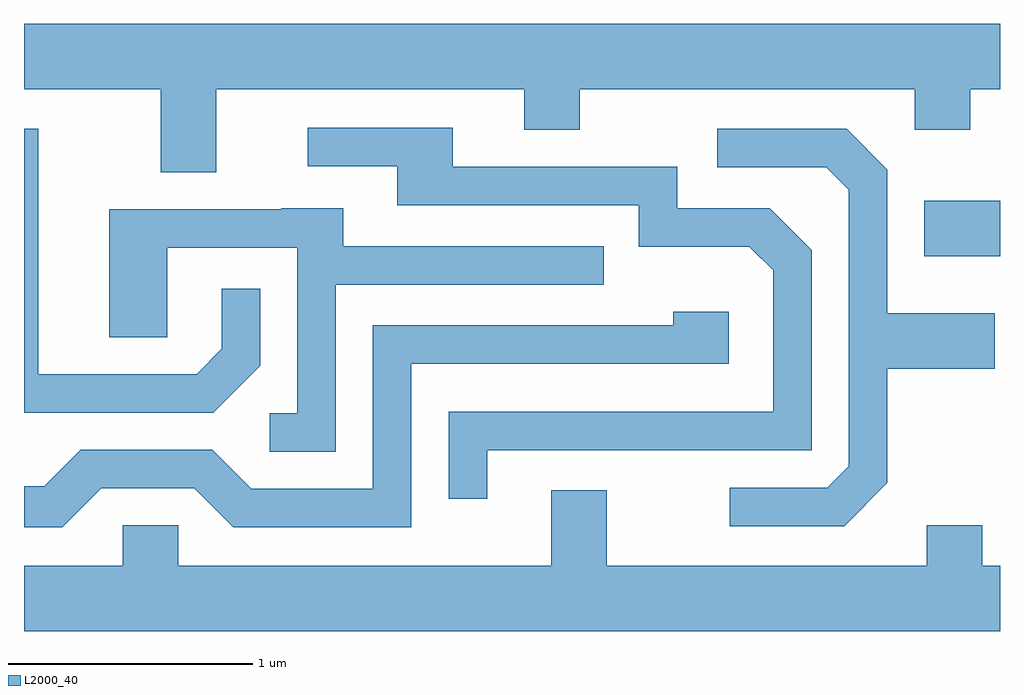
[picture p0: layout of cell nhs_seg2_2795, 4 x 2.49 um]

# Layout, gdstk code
import gdstk
lib = gdstk.Library(unit=1e-6, precision=1e-09)
def R(c, l, rs):  # rectangles x0, y0, x1, y1
    for r in rs: c.add(gdstk.rectangle(r[:2], r[2:], *l))
def P(c, l, *ps):  # polygons
    for p in ps: c.add(gdstk.Polygon(p, *l))
L2000_40 = (2000, 40)

nhs_seg2_2795 = lib.new_cell('nhs_seg2_2795')
R(nhs_seg2_2795, L2000_40, [(271.301,1005.451,271.611,1005.679)])
P(nhs_seg2_2795, L2000_40, [(268.399,1006.136),(269.661,1006.136),(269.661,1005.971),(269.889,1005.971),(269.889,1006.136),(271.261,1006.136),(271.261,1005.971),(271.489,1005.971),(271.489,1006.136),(271.611,1006.136),(271.611,1006.404),(267.611,1006.404),(267.611,1006.136),(268.171,1006.136),(268.171,1005.796),(268.399,1005.796)],
  [(269.509,1004.656),(270.839,1004.656),(270.839,1005.477),(270.667,1005.649),(270.289,1005.649),(270.289,1005.819),(269.369,1005.819),(269.369,1005.979),(268.773,1005.979),(268.773,1005.821),(269.141,1005.821),(269.141,1005.661),(270.131,1005.661),(270.131,1005.491),(270.584,1005.491),(270.681,1005.394),(270.681,1004.814),(269.351,1004.814),(269.351,1004.458),(269.509,1004.458)],
  [(271.149,1004.524),(271.149,1004.991),(271.589,1004.991),(271.589,1005.219),(271.149,1005.219),(271.149,1005.807),(270.982,1005.974),(270.453,1005.974),(270.453,1005.816),(270.899,1005.816),(270.991,1005.724),(270.991,1004.592),(270.904,1004.504),(270.503,1004.504),(270.503,1004.346),(270.972,1004.346)],
  [(268.579,1005.004),(268.579,1005.318),(268.421,1005.318),(268.421,1005.072),(268.319,1004.969),(267.669,1004.969),(267.669,1005.974),(267.611,1005.974),(267.611,1004.811),(268.387,1004.811)],
  [(268.889,1005.336),(269.988,1005.336),(269.988,1005.494),(268.919,1005.494),(268.919,1005.649),(268.665,1005.649),(268.665,1005.644),(267.961,1005.644),(267.961,1005.121),(268.199,1005.121),(268.199,1005.486),(268.731,1005.486),(268.731,1004.809),(268.618,1004.809),(268.618,1004.651),(268.889,1004.651)],
  [(267.927,1004.501),(268.309,1004.501),(268.469,1004.341),(269.199,1004.341),(269.199,1005.011),(270.499,1005.011),(270.499,1005.224),(270.271,1005.224),(270.271,1005.169),(269.041,1005.169),(269.041,1004.499),(268.542,1004.499),(268.382,1004.659),(267.844,1004.659),(267.694,1004.509),(267.611,1004.509),(267.611,1004.341),(267.767,1004.341)],
  [(271.611,1004.184),(271.539,1004.184),(271.539,1004.349),(271.311,1004.349),(271.311,1004.184),(269.999,1004.184),(269.999,1004.494),(269.771,1004.494),(269.771,1004.184),(268.244,1004.184),(268.244,1004.349),(268.016,1004.349),(268.016,1004.184),(267.611,1004.184),(267.611,1003.916),(271.611,1003.916)])

lib.write_gds('nhs_seg2_2795.gds')
